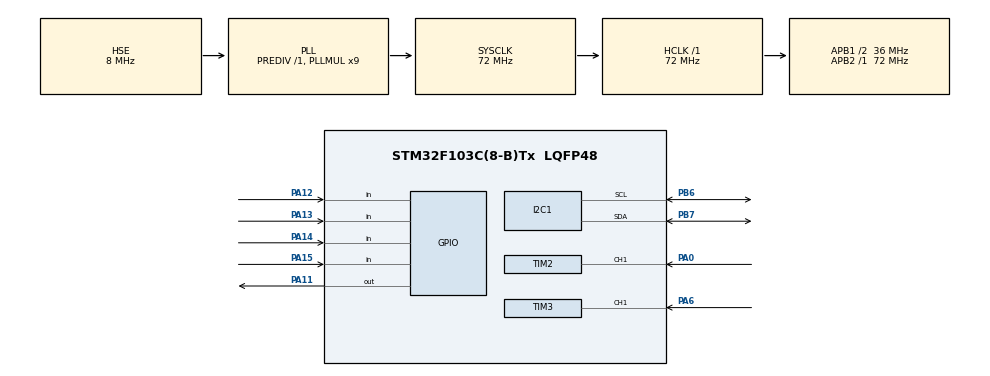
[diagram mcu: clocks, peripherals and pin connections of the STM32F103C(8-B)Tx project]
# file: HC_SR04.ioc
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Mcu.Family=STM32F1
Mcu.Name=STM32F103C(8-B)Tx
Mcu.Package=LQFP48
NVIC.I2C1_ER_IRQn=true\:0\:0\:false\:false\:true\:true\:true\:true
NVIC.I2C1_EV_IRQn=true\:0\:0\:false\:false\:true\:true\:true\:true
NVIC.PriorityGroup=NVIC_PRIORITYGROUP_4
NVIC.TIM1_CC_IRQn=true\:0\:0\:false\:false\:true\:true\:true\:true
NVIC.TIM2_IRQn=true\:0\:0\:false\:false\:true\:true\:true\:true
NVIC.TIM3_IRQn=true\:0\:0\:false\:false\:true\:true\:true\:true
PA0-WKUP.Signal=S_TIM2_CH1_ETR
PA11.Signal=GPIO_Output
PA12.Signal=GPIO_Input
PA13.Signal=GPIO_Input
PA14.Signal=GPIO_Input
PA15.Signal=GPIO_Input
PA6.Signal=S_TIM3_CH1
PB6.Mode=I2C
PB6.Signal=I2C1_SCL
PB7.Mode=I2C
PB7.Signal=I2C1_SDA
PD0-OSC_IN.Mode=HSE-External-Oscillator
PD0-OSC_IN.Signal=RCC_OSC_IN
PD1-OSC_OUT.Mode=HSE-External-Oscillator
PD1-OSC_OUT.Signal=RCC_OSC_OUT
ProjectManager.HeapSize=0x200
ProjectManager.StackSize=0x400
ProjectManager.TargetToolchain=MDK-ARM V5.32
RCC.AHBFreq_Value=72000000
RCC.APB1CLKDivider=RCC_HCLK_DIV2
RCC.APB1Freq_Value=36000000
RCC.APB1TimFreq_Value=72000000
RCC.APB2Freq_Value=72000000
RCC.APB2TimFreq_Value=72000000
RCC.HCLKFreq_Value=72000000
RCC.PLLMUL=RCC_PLL_MUL9
RCC.PLLSourceVirtual=RCC_PLLSOURCE_HSE
RCC.SYSCLKFreq_VALUE=72000000
RCC.SYSCLKSource=RCC_SYSCLKSOURCE_PLLCLK
RCC.USBFreq_Value=72000000
SH.S_TIM2_CH1_ETR.0=TIM2_CH1,Input_Capture1_from_TI1
SH.S_TIM3_CH1.0=TIM3_CH1,Input_Capture1_from_TI1
TIM1.Period=10000
TIM1.Prescaler=71
TIM2.Channel-Input_Capture1_from_TI1=TIM_CHANNEL_1
TIM2.Channel-Input_Capture2_from_TI1_63=TIM_CHANNEL_2
TIM2.ICPolarity_CH2=TIM_INPUTCHANNELPOLARITY_FALLING
TIM2.Period=10000
TIM2.Prescaler=71
TIM3.Channel-Input_Capture1_from_TI1=TIM_CHANNEL_1
TIM3.Channel-Input_Capture2_from_TI1_63=TIM_CHANNEL_2
TIM3.ICPolarity_CH2=TIM_INPUTCHANNELPOLARITY_FALLING
TIM3.Period=10000
TIM3.Prescaler=71
VP_SYS_VS_ND.Mode=No_Debug
VP_TIM1_VS_ClockSourceINT.Mode=Internal
VP_TIM2_VS_ClockSourceINT.Mode=Internal
VP_TIM2_VS_indirect_ch1.Mode=Input_Capture2_from_TI1_63
VP_TIM3_VS_ClockSourceINT.Mode=Internal
VP_TIM3_VS_indirect_ch1.Mode=Input_Capture2_from_TI1_63
board=custom

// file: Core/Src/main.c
/* USER CODE BEGIN Header */
/**
  ******************************************************************************
  * @file           : main.c
  * @brief          : Main program body
  ******************************************************************************
  * @attention
  *
  * Copyright (c) 2024 STMicroelectronics.
  * All rights reserved.
  *
  * This software is licensed under terms that can be found in the LICENSE file
  * in the root directory of this software component.
  * If no LICENSE file comes with this software, it is provided AS-IS.
  *
  ******************************************************************************
  */
/* USER CODE END Header */
#include "main.h"
#include "i2c.h"
#include "tim.h"
#include "gpio.h"

/* USER CODE BEGIN Includes */
#include "font.h"
#include "key.h"
#include "oled.h"
#include "stdio.h"
#include "hc_sr04.h"
/* USER CODE END Includes */

void SystemClock_Config(void);

int main(void)
{
  /* USER CODE BEGIN 1 */
	char oled_buffer[30];
  /* USER CODE END 1 */

  /* MCU Configuration--------------------------------------------------------*/

  /* Reset of all peripherals, Initializes the Flash interface and the Systick. */
  HAL_Init();

  /* Configure the system clock */
  SystemClock_Config();

  /* Initialize all configured peripherals */
  MX_GPIO_Init();
  MX_TIM1_Init();
  MX_TIM2_Init();
  MX_TIM3_Init();
  MX_I2C1_Init();
  /* USER CODE BEGIN 2 */
	OLED_Init();
  /* USER CODE END 2 */

  /* Infinite loop */
  /* USER CODE BEGIN WHILE */
		HAL_TIM_Base_Start(&htim2);
		HAL_TIM_IC_Start_IT(&htim2,TIM_CHANNEL_1);
		HAL_TIM_IC_Start_IT(&htim2,TIM_CHANNEL_2);
  while (1)
  {
//		if(key[0].single_flag==1)
//		{
		HAL_GPIO_WritePin(GPIOA,GPIO_PIN_11,GPIO_PIN_SET);
		HAL_Delay(1);
		HAL_GPIO_WritePin(GPIOA,GPIO_PIN_11,GPIO_PIN_RESET);

		__HAL_TIM_SET_COUNTER(&htim2,0);
		HAL_Delay(20);

		OLED_NewFrame();
		sprintf(oled_buffer,"%.2f,cm  %d   %d  ",distance,upEdge,downEdge);
		OLED_PrintASCIIString(0,0,oled_buffer,&afont12x6,OLED_COLOR_NORMAL);
		OLED_ShowFrame();
		HAL_Delay(100);
//		key[0].single_flag=0;

//		}
    /* USER CODE END WHILE */

  }
}

void SystemClock_Config(void)
{
  RCC_OscInitTypeDef RCC_OscInitStruct = {0};
  RCC_ClkInitTypeDef RCC_ClkInitStruct = {0};

  /** Initializes the RCC Oscillators according to the specified parameters
  * in the RCC_OscInitTypeDef structure.
  */
  RCC_OscInitStruct.OscillatorType = RCC_OSCILLATORTYPE_HSE;
  RCC_OscInitStruct.HSEState = RCC_HSE_ON;
  RCC_OscInitStruct.HSEPredivValue = RCC_HSE_PREDIV_DIV1;
  RCC_OscInitStruct.HSIState = RCC_HSI_ON;
  RCC_OscInitStruct.PLL.PLLState = RCC_PLL_ON;
  RCC_OscInitStruct.PLL.PLLSource = RCC_PLLSOURCE_HSE;
  RCC_OscInitStruct.PLL.PLLMUL = RCC_PLL_MUL9;
  if (HAL_RCC_OscConfig(&RCC_OscInitStruct) != HAL_OK)
  {
    Error_Handler();
  }

  /** Initializes the CPU, AHB and APB buses clocks
  */
  RCC_ClkInitStruct.ClockType = RCC_CLOCKTYPE_HCLK|RCC_CLOCKTYPE_SYSCLK
                              |RCC_CLOCKTYPE_PCLK1|RCC_CLOCKTYPE_PCLK2;
  RCC_ClkInitStruct.SYSCLKSource = RCC_SYSCLKSOURCE_PLLCLK;
  RCC_ClkInitStruct.AHBCLKDivider = RCC_SYSCLK_DIV1;
  RCC_ClkInitStruct.APB1CLKDivider = RCC_HCLK_DIV2;
  RCC_ClkInitStruct.APB2CLKDivider = RCC_HCLK_DIV1;

  if (HAL_RCC_ClockConfig(&RCC_ClkInitStruct, FLASH_LATENCY_2) != HAL_OK)
  {
    Error_Handler();
  }
}

void Error_Handler(void)
{
  __disable_irq();
  while (1)
  {
  }
}
